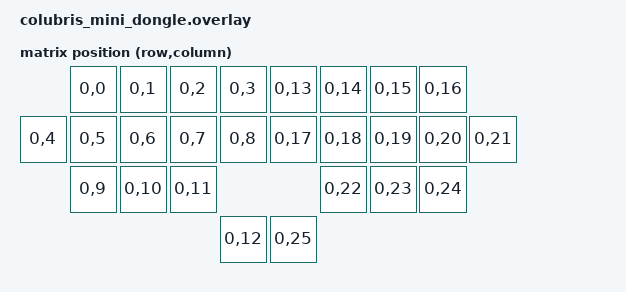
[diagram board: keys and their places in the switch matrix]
#include "colubris_mini.dtsi"

/ {
    chosen {
        zmk,physical-layout = &colubris_layout;
        zephyr,display = &oled;
    };

    mock_kscan: mock_kscan0 {
        compatible = "zmk,kscan-mock";
        columns = <0>;
        rows = <0>;
        events = <0>;
    };
    
    // Copied from colubris_mini.dtsi
    default_transform: keymap_transform_0 {
        compatible = "zmk,matrix-transform";
        columns = <30>;
        rows = <1>;
        map = <
                     RC(0,0)  RC(0,1)  RC(0,2)  RC(0,3)       RC(0,13)  RC(0,14)  RC(0,15)  RC(0,16)    
            RC(0,4)  RC(0,5)  RC(0,6)  RC(0,7)  RC(0,8)       RC(0,17)  RC(0,18)  RC(0,19)  RC(0,20)  RC(0,21)    
                     RC(0,9)  RC(0,10) RC(0,11)                         RC(0,22)  RC(0,23)  RC(0,24)  
                                                RC(0,12)      RC(0,25) 
        >;
    };
    
    
};

&colubris_layout {
    transform = <&default_transform>;
    kscan = <&mock_kscan>;
};

/delete-node/ &kscan0;   // only required if the dongle uses a 
//                                 // different board than the peripherals
//                                 // Since we do that, we have to delete the node.

&pro_micro_i2c {
    status = "okay";
    
    oled: ssd1306@3c {
        compatible = "solomon,ssd1306fb";
        reg = <0x3c>;
        width = <128>;
        height = <64>;
        segment-offset = <0>;
        page-offset = <0>;
        display-offset = <0>;
        multiplex-ratio = <63>;
        segment-remap;
        com-invdir;
        inversion-on;
        prechargep = <0x22>;
    };
};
